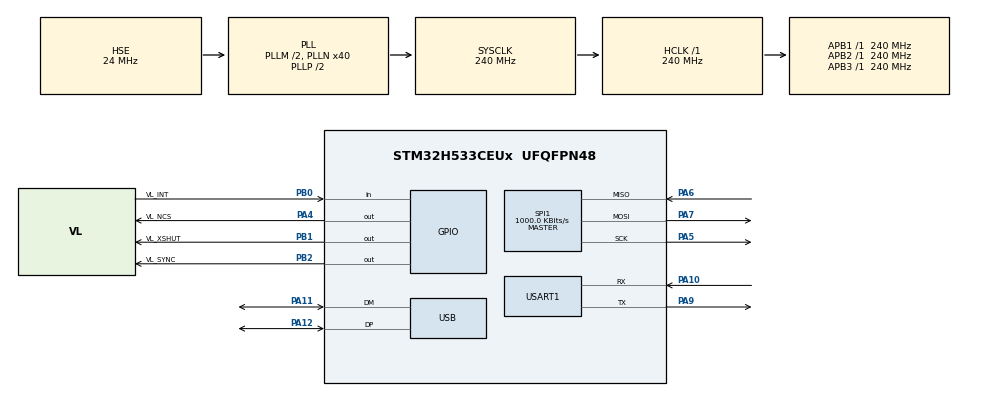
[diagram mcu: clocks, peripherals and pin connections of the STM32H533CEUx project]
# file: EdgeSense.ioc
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BOOTPATH.BootPathName=LEGACY
BOOTPATH.UserSelectedBootPath=LEGACY
CORTEX_M33_NS.Number-Cortex_Memory_Protection_Unit_Region0_OTP_RO_AREAS_Settings=MPU_REGION_NUMBER0
CORTEX_M33_NS.default_mode_Activation=1
CORTEX_M33_NS.userName=CORTEX_M33
Mcu.Family=STM32H5
Mcu.Name=STM32H533CEUx
Mcu.Package=UFQFPN48
NVIC.PriorityGroup=NVIC_PRIORITYGROUP_4
NVIC.USB_DRD_FS_IRQn=true\:7\:0\:true\:false\:true\:false\:true\:true
PA10.Mode=Asynchronous
PA10.Signal=USART1_RX
PA11.Mode=Device
PA11.Signal=USB_DM
PA12.Mode=Device
PA12.Signal=USB_DP
PA13(JTMS/SWDIO).Mode=Serial_Wire
PA13(JTMS/SWDIO).Signal=DEBUG_JTMS-SWDIO
PA14(JTCK/SWCLK).Mode=Serial_Wire
PA14(JTCK/SWCLK).Signal=DEBUG_JTCK-SWCLK
PA4.GPIO_Label=VL_NCS
PA4.GPIO_PuPd=GPIO_PULLUP
PA4.PinState=GPIO_PIN_SET
PA4.Signal=GPIO_Output
PA5.Mode=Full_Duplex_Master
PA5.Signal=SPI1_SCK
PA6.Mode=Full_Duplex_Master
PA6.Signal=SPI1_MISO
PA7.Mode=Full_Duplex_Master
PA7.Signal=SPI1_MOSI
PA9.Mode=Asynchronous
PA9.Signal=USART1_TX
PB0.GPIO_Label=VL_INT
PB0.GPIO_PuPd=GPIO_PULLUP
PB0.Signal=GPIO_Input
PB1.GPIO_Label=VL_XSHUT
PB1.PinState=GPIO_PIN_RESET
PB1.Signal=GPIO_Output
PB2.GPIO_Label=VL_SYNC
PB2.Signal=GPIO_Output
PC14-OSC32_IN(OSC32_IN).Mode=LSE-External-Oscillator
PC14-OSC32_IN(OSC32_IN).Signal=RCC_OSC32_IN
PC15-OSC32_OUT(OSC32_OUT).Mode=LSE-External-Oscillator
PC15-OSC32_OUT(OSC32_OUT).Signal=RCC_OSC32_OUT
PH0-OSC_IN(PH0).Mode=HSE-External-Oscillator
PH0-OSC_IN(PH0).Signal=RCC_OSC_IN
PH1-OSC_OUT(PH1).Mode=HSE-External-Oscillator
PH1-OSC_OUT(PH1).Signal=RCC_OSC_OUT
ProjectManager.HeapSize=0x800
ProjectManager.StackSize=0x800
ProjectManager.TargetToolchain=STM32CubeIDE
RCC.ADCFreq_Value=240000000
RCC.AHBFreq_Value=240000000
RCC.APB1Freq_Value=240000000
RCC.APB1TimFreq_Value=240000000
RCC.APB2Freq_Value=240000000
RCC.APB2TimFreq_Value=240000000
RCC.APB3Freq_Value=240000000
RCC.CSI_VALUE=4000000
RCC.CortexFreq_Value=240000000
RCC.EPOD_VALUE=24000000
RCC.EnbaleCSS=true
RCC.HCLKFreq_Value=240000000
RCC.HSE_VALUE=24000000
RCC.HSI48_VALUE=48000000
RCC.HSI_VALUE=64000000
RCC.LSIRC_VALUE=32000
RCC.PLL1Q=3
RCC.PLL2FRACN=0
RCC.PLL2Source=RCC_PLL2_SOURCE_HSE
RCC.PLL3FRACN=0
RCC.PLL3Source=RCC_PLL3_SOURCE_HSE
RCC.PLLFRACN=0
RCC.PLLM=2
RCC.PLLN=40
RCC.PLLSourceVirtual=RCC_PLL1_SOURCE_HSE
RCC.SPI1CLockSelection=RCC_SPI1CLKSOURCE_CLKP
RCC.SYSCLKFreq_VALUE=240000000
RCC.SYSCLKSource=RCC_SYSCLKSOURCE_PLLCLK
RCC.USBFreq_Value=48000000
RCC.VCOOutputFreq_Value=480000000
SPI1.BaudRatePrescaler=SPI_BAUDRATEPRESCALER_32
SPI1.CLKPhase=SPI_PHASE_2EDGE
SPI1.CLKPolarity=SPI_POLARITY_HIGH
SPI1.CalculateBaudRate=1000.0 KBits/s
SPI1.DataSize=SPI_DATASIZE_8BIT
SPI1.Direction=SPI_DIRECTION_2LINES
SPI1.Mode=SPI_MODE_MASTER
SPI1.VirtualType=VM_MASTER
STMicroelectronics.X-CUBE-AI.10.2.1.ActivationBufferSizeList=3208
STMicroelectronics.X-CUBE-AI.10.2.1.ActivationBuffers=pool0
STMicroelectronics.X-CUBE-AI.10.2.1.ActivationNames=pool0
STMicroelectronics.X-CUBE-AI.10.2.1.ActivationSizes=AI_GESTURE_NN_DATA_ACTIVATION_1_SIZE
STMicroelectronics.X-CUBE-AI.10.2.1.ApplicationCcDeviceJjApplication=ApplicationTemplate
STMicroelectronics.X-CUBE-AI.10.2.1.HeapSize=0x800
STMicroelectronics.X-CUBE-AI.10.2.1.InternalRamActivationBufferMaxSize=AI_GESTURE_NN_DATA_ACTIVATIONS_SIZE
STMicroelectronics.X-CUBE-AI.10.2.1.LatestDirectoryUsed-a4c60c51a46f955832623ff0cc0f47703b3d2a5c17d3c3ddd3811864644dafbc=data
STMicroelectronics.X-CUBE-AI.10.2.1.MaximumNumberOfInputLayer=1
STMicroelectronics.X-CUBE-AI.10.2.1.MaximumNumberOfOutputLayer=1
STMicroelectronics.X-CUBE-AI.10.2.1.MaximumSizeOfInputLayer=1
STMicroelectronics.X-CUBE-AI.10.2.1.MaximumSizeOfOutputLayer=1
STMicroelectronics.X-CUBE-AI.10.2.1.ModelActualCompression-a4c60c51a46f955832623ff0cc0f47703b3d2a5c17d3c3ddd3811864644dafbc=0.0
STMicroelectronics.X-CUBE-AI.10.2.1.ModelCompression-a4c60c51a46f955832623ff0cc0f47703b3d2a5c17d3c3ddd3811864644dafbc=None
STMicroelectronics.X-CUBE-AI.10.2.1.ModelFlashOccupation-a4c60c51a46f955832623ff0cc0f47703b3d2a5c17d3c3ddd3811864644dafbc=81756
STMicroelectronics.X-CUBE-AI.10.2.1.ModelHashList=a4c60c51a46f955832623ff0cc0f47703b3d2a5c17d3c3ddd3811864644dafbc
STMicroelectronics.X-CUBE-AI.10.2.1.ModelKind-a4c60c51a46f955832623ff0cc0f47703b3d2a5c17d3c3ddd3811864644dafbc=ONNX
STMicroelectronics.X-CUBE-AI.10.2.1.ModelMacc-a4c60c51a46f955832623ff0cc0f47703b3d2a5c17d3c3ddd3811864644dafbc=17904
STMicroelectronics.X-CUBE-AI.10.2.1.ModelName-a4c60c51a46f955832623ff0cc0f47703b3d2a5c17d3c3ddd3811864644dafbc=gesture_nn
STMicroelectronics.X-CUBE-AI.10.2.1.ModelNameList=gesture_nn
STMicroelectronics.X-CUBE-AI.10.2.1.ModelRamOccupation-a4c60c51a46f955832623ff0cc0f47703b3d2a5c17d3c3ddd3811864644dafbc=3208
STMicroelectronics.X-CUBE-AI.10.2.1.ModelStructureFile-a4c60c51a46f955832623ff0cc0f47703b3d2a5c17d3c3ddd3811864644dafbc=data\\gesture_nn_model.onnx
STMicroelectronics.X-CUBE-AI.10.2.1.ModelType-a4c60c51a46f955832623ff0cc0f47703b3d2a5c17d3c3ddd3811864644dafbc=STM32Cube.AI MCU runtime
STMicroelectronics.X-CUBE-AI.10.2.1.ReadyForCodeGeneration=false
STMicroelectronics.X-CUBE-AI.10.2.1.StackSize=0x800
STMicroelectronics.X-CUBE-AI.10.2.1.WorkingBufferStartAddrList=0xFFFFFFFF
STMicroelectronics.X-CUBE-AI.10.2.1.XAaCUBEAaAICcArtificialOoIntelligenceJjCore=true
STMicroelectronics.X-CUBE-AI.10.2.1.copyWeightToRam=false
STMicroelectronics.X-CUBE-AI.10.2.1.customLayerConfigEnabled=false
STMicroelectronics.X-CUBE-AI.10.2.1.noOnnxIoTranspose=false
STMicroelectronics.X-CUBE-AI.10.2.1.useInputAllocation=true
STMicroelectronics.X-CUBE-AI.10.2.1.useOutputAllocation=true
USART1.VirtualMode-Asynchronous=VM_ASYNC
USB.VirtualMode=Device_Only
USBX.BSP.number=1
USBX.Core_System=1
USBX.USBD_CDCACM_EPIN_ADDR=2
USBX.USBD_CDCACM_EPOUT_ADDR=3
USBX.UX_DEVICE_CDC_ACM=1
USBX.UX_DEVICE_ENABLED_FS=1
USBX.UX_Device_Controller=1
USBX.UX_Device_CoreStack=1
USBX.UX_enabled_FS=1
USBX0.BSP.STBoard=false
USBX0.BSP.api=Unknown
USBX0.BSP.condition=\!DIE47A
USBX0.BSP.instance=USB
USBX0.BSP.ip=USB
USBX0.BSP.mode=Device_Only
USBX0.BSP.name=USB_Device
USBX0.BSP.solution=USB
VP_BOOTPATH_VS_BOOTPATH.Mode=BP_Activate
VP_CORTEX_M33_NS_VS_Hclk.Mode=Hclk_Mode
VP_ICACHE_VS_ICACHE.Mode=DirectMappedCache
VP_MEMORYMAP_VS_MEMORYMAP.Mode=CurAppReg
VP_PWR_VS_LPOM.Mode=PowerOptimisation
VP_PWR_VS_SECSignals.Mode=Security/Privilege
VP_RCC_USB.Mode=CRS SYNC Source USB
VP_STMicroelectronics.X-CUBE-AI_VS_ArtificialOoIntelligenceJjXAaCUBEAaAI_10.2.1.Mode=ArtificialOoIntelligenceJjXAaCUBEAaAI
VP_STMicroelectronics.X-CUBE-AI_VS_DeviceJjApplication_10.2.1.Mode=DeviceJjApplication
VP_USBX_Core_System.Mode=Core_System
VP_USBX_UX\ Device\ CDC\ ACM\ Class_FS.Mode=UX_Device_class_CDC_ACM_FS_HS
VP_USBX_UX\ Device\ Controller_FS.Mode=UX_Device_Controller_FS
VP_USBX_UX\ Device\ CoreStack_FS.Mode=UX_Device_CoreStack
board=custom

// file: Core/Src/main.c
/* USER CODE BEGIN Header */
/*
 * main.c
 * Main firmware implementation for EdgeSense
 *
 * EdgeSense: STM32 Edge AI Texture and Gesture Classifier
 *
 * Copyright (c) 2026 Dharagesh and Circuit Digest
 * https://github.com/Circuit-Digest/EdgeSense
 * Licensed under GNU General Public License v3.0
 */

/*
  ███████╗██████╗  ██████╗ ███████╗███████╗███████╗███╗   ██╗███████╗███████╗
  ██╔════╝██╔══██╗██╔════╝ ██╔════╝██╔════╝██╔════╝████╗  ██║██╔════╝██╔════╝
  █████╗  ██║  ██║██║  ███╗█████╗  ███████╗█████╗  ██╔██╗ ██║███████╗█████╗
  ██╔══╝  ██║  ██║██║   ██║██╔══╝  ╚════██║██╔══╝  ██║╚██╗██║╚════██║██╔══╝
  ███████╗██████╔╝╚██████╔╝███████╗███████║███████╗██║ ╚████║███████║███████╗
  ╚══════╝╚═════╝  ╚═════╝ ╚══════╝╚══════╝╚══════╝╚═╝  ╚═══╝╚══════╝╚══════╝
*/
/**
  ******************************************************************************
  * @file           : main.c
  * @brief          : Main program body - EdgeSense System Controller
  *                   Capabilities: 3D Gesture (8x8), Surface Material 1D-CNN (4x4 CNH),
  *                                 Hand Posture 2D-CNN (8x8), Optical Smoke Sensing
  *                   Peripherals : VL53L8CH ToF (SPI1), High-Speed USB CDC, USART1
  ******************************************************************************
  */
/* USER CODE END Header */
#include "main.h"
#include "usb_device.h"
#include "app_x-cube-ai.h"

/* USER CODE BEGIN Includes */
#include <stdio.h>
#include <string.h>
#include "usbd_cdc_if.h"
#include "vl53lmz_api.h"
#include "vl53lmz_plugin_cnh.h"
#include "platform.h"
#include "at_cmd.h"
#include "pipeline_manager.h"
/* USER CODE END Includes */

SPI_HandleTypeDef hspi1;

UART_HandleTypeDef huart1;

PCD_HandleTypeDef hpcd_USB_DRD_FS;

/* USER CODE BEGIN PV */
extern volatile uint32_t g_usb_irq_count;

static VL53LMZ_Configuration         g_vl53lmz_dev;
static VL53LMZ_ResultsData           g_vl53lmz_results;
static VL53LMZ_Motion_Configuration  g_cnh_config;
static cnh_data_buffer_t             g_cnh_data_buffer;
static uint32_t                      g_cnh_data_size = 0;
static int16_t                       g_cnh_min_dist = 0;
static int16_t                       g_cnh_max_dist = 0;
static uint8_t  g_sensor_initialized = 0;
uint8_t         g_ranging_active     = 0;
static uint32_t g_frame_count        = 0;
static uint32_t g_last_frame_tick    = 0;
float           g_fps                = 0.0f;
static char     s_json_buf[6144];
static uint8_t  g_current_resolution = 64;
static uint16_t g_cnh_num_bins        = 16;
static uint8_t  g_cnh_sub_sample      = 4;
static uint8_t  g_ranging_freq_hz     = 15;
/* USER CODE END PV */

void SystemClock_Config(void);
void PeriphCommonClock_Config(void);
static void MPU_Config(void);
static void MX_GPIO_Init(void);
static void MX_ICACHE_Init(void);
static void MX_SPI1_Init(void);
static void MX_USART1_UART_Init(void);
/* USER CODE BEGIN PFP */
void MX_USB_PCD_Init(void);
/* USER CODE END PFP */

/* USER CODE BEGIN 0 */
// Redirect printf to USB Type-C Virtual COM Port (Non-blocking high-speed)
int __io_putchar(int ch) {
    uint8_t c = (uint8_t)ch;
    CDC_Transmit_FS(&c, 1);
    return ch;
}

// Low-level SPI write for VL53L8CH
void VL_WriteByte(uint16_t reg, uint8_t data) {
    uint8_t tx[3];
    // In VL53L8CH SPI: write bit (bit 15) is 1
    tx[0] = (uint8_t)((reg >> 8) | 0x80);
    tx[1] = (uint8_t)(reg & 0xFF);
    tx[2] = data;

    HAL_GPIO_WritePin(VL_NCS_GPIO_Port, VL_NCS_Pin, GPIO_PIN_RESET); // Chip Select LOW
    HAL_SPI_Transmit(&hspi1, tx, 3, 100);
    HAL_GPIO_WritePin(VL_NCS_GPIO_Port, VL_NCS_Pin, GPIO_PIN_SET);   // Chip Select HIGH
}

// Low-level SPI read for VL53L8CH
uint8_t VL_ReadByte(uint16_t reg) {
    uint8_t tx[2];
    uint8_t rx = 0;
    // In VL53L8CH SPI: read bit (bit 15) is 0
    tx[0] = (uint8_t)((reg >> 8) & 0x7F);
    tx[1] = (uint8_t)(reg & 0xFF);

    HAL_GPIO_WritePin(VL_NCS_GPIO_Port, VL_NCS_Pin, GPIO_PIN_RESET); // Chip Select LOW
    HAL_SPI_Transmit(&hspi1, tx, 2, 100);                             // Send 16-bit address
    HAL_SPI_Receive(&hspi1, &rx, 1, 100);                             // Read byte
    HAL_GPIO_WritePin(VL_NCS_GPIO_Port, VL_NCS_Pin, GPIO_PIN_SET);   // Chip Select HIGH
    return rx;
}

// Ultra-fast integer-to-string append (avoids printf overhead)
static inline char* append_int(char *p, int val) {
    if (val < 0) {
        *p++ = '-';
        val = -val;
    }
    char tmp[10];
    int i = 0;
    do {
        tmp[i++] = (char)('0' + (val % 10));
        val /= 10;
    } while (val > 0);
    while (i > 0) {
        *p++ = tmp[--i];
    }
    return p;
}

// Ultra-fast 1-decimal-place float append (e.g. 12.3)
static inline char* append_fixed1(char *p, float val) {
    if (val < 0.0f) {
        *p++ = '-';
        val = -val;
    }
    uint32_t vi = (uint32_t)val;
    uint32_t vf = (uint32_t)((val - (float)vi) * 10.0f + 0.5f);
    if (vf >= 10) {
        vi++;
        vf = 0;
    }
    char tmp[10];
    int i = 0;
    do {
        tmp[i++] = (char)('0' + (vi % 10));
        vi /= 10;
    } while (vi > 0);
    while (i > 0) {
        *p++ = tmp[--i];
    }
    *p++ = '.';
    *p++ = (char)('0' + vf);
    return p;
}

uint8_t Get_Sensor_Resolution(void) { return g_current_resolution; }
uint16_t Get_Sensor_NumBins(void) { return g_cnh_num_bins; }
uint8_t Get_Sensor_SubSample(void) { return g_cnh_sub_sample; }
uint8_t Get_Sensor_Frequency(void) { return g_ranging_freq_hz; }
void* Get_CNH_Configuration(void) { return (void*)&g_cnh_config; }

/// High-Speed Atomic JSON Packet Streaming (Dynamic Resolution & Bins)
static void Print_JSON_Stream(VL53LMZ_ResultsData *p_res, uint32_t frame_no) {
    char *p = s_json_buf;
    uint8_t num_zones = g_current_resolution;
    uint16_t nb_bins = g_cnh_num_bins;

    // 1. Frame metadata
    *p++ = '{';
    *p++ = '"'; *p++ = 'f'; *p++ = '"'; *p++ = ':';
    p = append_int(p, (int)frame_no);
    *p++ = ',';
    *p++ = '"'; *p++ = 't'; *p++ = '"'; *p++ = ':';
    p = append_int(p, (int)p_res->silicon_temp_degc);
    *p++ = ',';
    *p++ = '"'; *p++ = 'r'; *p++ = 'e'; *p++ = 's'; *p++ = '"'; *p++ = ':';
    p = append_int(p, (int)num_zones);
    *p++ = ',';
    *p++ = '"'; *p++ = 'b'; *p++ = 'i'; *p++ = 'n'; *p++ = 's'; *p++ = '"'; *p++ = ':';
    p = append_int(p, (int)nb_bins);

    // 2. Distance values (16 or 64)
    *p++ = ',';
    *p++ = '"'; *p++ = 'd'; *p++ = '"'; *p++ = ':'; *p++ = '[';
    for (int i = 0; i < num_zones; i++) {
        if (i > 0) *p++ = ',';
        uint8_t status = p_res->target_status[i];
        int16_t d = (status == 5 || status == 6 || status == 9 || status == 4) ? p_res->distance_mm[i] : -1;
        p = append_int(p, (int)d);
    }
    *p++ = ']';

    // 3. Peak Signal values (kcps/SPAD)
    *p++ = ',';
    *p++ = '"'; *p++ = 's'; *p++ = '"'; *p++ = ':'; *p++ = '[';
    for (int i = 0; i < num_zones; i++) {
        if (i > 0) *p++ = ',';
        uint32_t sig = p_res->signal_per_spad[i];
        p = append_int(p, (int)sig);
    }
    *p++ = ']';

    // 4. Native Ambient Noise values (kcps/spad)
    *p++ = ',';
    *p++ = '"'; *p++ = 'a'; *p++ = '"'; *p++ = ':'; *p++ = '[';
    for (int i = 0; i < num_zones; i++) {
        if (i > 0) *p++ = ',';
        p = append_int(p, (int)p_res->ambient_per_spad[i]);
    }
    *p++ = ']';

    // 4. Zone Histograms Concurrent Matrix
    *p++ = ',';
    *p++ = '"'; *p++ = 'h'; *p++ = '"'; *p++ = ':'; *p++ = '[';
    for (int z = 0; z < num_zones; z++) {
        if (z > 0) *p++ = ',';
        *p++ = '[';

        int32_t *p_hist = NULL;
        int8_t *p_hist_scaler = NULL;
        int32_t *p_ambient = NULL;
        int8_t *p_ambient_scaler = NULL;

        vl53lmz_cnh_get_block_addresses(&g_cnh_config, z, g_cnh_data_buffer,
                                        &p_hist, &p_hist_scaler, &p_ambient, &p_ambient_scaler);

        if (p_hist && p_hist_scaler) {
            for (int b = 0; b < nb_bins; b++) {
                if (b > 0) *p++ = ',';
                float val = ((float)p_hist[b]) / (float)(1 << p_hist_scaler[b]);
                p = append_fixed1(p, val);
            }
        } else {
            for (int b = 0; b < nb_bins; b++) {
                if (b > 0) *p++ = ',';
                *p++ = '0';
            }
        }
        *p++ = ']';
    }
    *p++ = ']';
    *p++ = '}';
    *p++ = '\r';
    *p++ = '\n';
    *p = '\0';

    int len = p - s_json_buf;

    // Single Atomic Non-blocking USB CDC Transmit
    if (len > 0 && len < (int)sizeof(s_json_buf)) {
        CDC_Transmit_FS((uint8_t*)s_json_buf, (uint16_t)len);
    }
}

uint8_t Init_VL53LMZ_Sensor(void);

uint8_t Set_Sensor_Profile(uint8_t resolution, uint16_t num_bins, uint8_t frequency_hz, uint8_t sub_sample) {
    if (!g_sensor_initialized) {
        return VL53LMZ_STATUS_ERROR;
    }
    if (resolution != 16 && resolution != 64) {
        return VL53LMZ_STATUS_INVALID_PARAM;
    }

    uint8_t status = VL53LMZ_STATUS_OK;
    uint8_t was_ranging = g_ranging_active;

    printf("\r\n[PROFILE] Reconfiguring sensor to %s (%d Zones, %d Bins, SubSample %d @ %d Hz)...\r\n",
           (resolution == 16) ? "4x4" : "8x8", resolution, num_bins, sub_sample, frequency_hz);

    // 1. Stop sensor ranging if active
    if (g_ranging_active) {
        status = vl53lmz_stop_ranging(&g_vl53lmz_dev);
        g_ranging_active = 0;
        if (status != VL53LMZ_STATUS_OK) {
            printf(">>> [FAIL] vl53lmz_stop_ranging failed! status=0x%02X <<<\r\n", status);
            return status;
        }
    }

    // 2. Set resolution, frequency, and integration time
    status = vl53lmz_set_resolution(&g_vl53lmz_dev, resolution);
    if (status != VL53LMZ_STATUS_OK) {
        printf(">>> [FAIL] vl53lmz_set_resolution failed! status=0x%02X <<<\r\n", status);
        return status;
    }

    status = vl53lmz_set_ranging_frequency_hz(&g_vl53lmz_dev, frequency_hz);
    if (status != VL53LMZ_STATUS_OK) {
        printf(">>> [FAIL] vl53lmz_set_ranging_frequency_hz failed! status=0x%02X <<<\r\n", status);
        return status;
    }

    uint32_t integration_time = (resolution == 16) ? 15 : 20;
    status = vl53lmz_set_integration_time_ms(&g_vl53lmz_dev, integration_time);
    if (status != VL53LMZ_STATUS_OK) {
        printf(">>> [FAIL] vl53lmz_set_integration_time_ms failed! status=0x%02X <<<\r\n", status);
        return status;
    }

    status = vl53lmz_set_ranging_mode(&g_vl53lmz_dev, VL53LMZ_RANGING_MODE_CONTINUOUS);
    if (status != VL53LMZ_STATUS_OK) {
        printf(">>> [FAIL] vl53lmz_set_ranging_mode failed! status=0x%02X <<<\r\n", status);
        return status;
    }

    // 3. Configure CNH Plugin
    status = vl53lmz_cnh_init_config(&g_cnh_config, 0, (int16_t)num_bins, (int16_t)sub_sample);
    if (status != VL53LMZ_STATUS_OK) {
        printf(">>> [FAIL] vl53lmz_cnh_init_config failed! status=0x%02X <<<\r\n", status);
        return status;
    }

    int16_t grid_dim = (resolution == 16) ? 4 : 8;
    status = vl53lmz_cnh_create_agg_map(&g_cnh_config, (int16_t)resolution, 0, 0, 1, 1, grid_dim, grid_dim);
    if (status != VL53LMZ_STATUS_OK) {
        printf(">>> [FAIL] vl53lmz_cnh_create_agg_map failed! status=0x%02X <<<\r\n", status);
        return status;
    }

    status = vl53lmz_cnh_calc_required_memory(&g_cnh_config, &g_cnh_data_size);
    if (status != VL53LMZ_STATUS_OK || g_cnh_data_size > VL53LMZ_CNH_MAX_DATA_BYTES) {
        printf(">>> [FAIL] CNH memory calculation error: %lu bytes <<<\r\n", g_cnh_data_size);
        return VL53LMZ_STATUS_ERROR;
    }
    vl53lmz_cnh_calc_min_max_distance(&g_cnh_config, &g_cnh_min_dist, &g_cnh_max_dist);
    printf("   CNH Memory: %lu bytes (Max: %lu) | Distance Span: %d - %d mm\r\n",
           g_cnh_data_size, VL53LMZ_CNH_MAX_DATA_BYTES, g_cnh_min_dist, g_cnh_max_dist);

    status = vl53lmz_cnh_send_config(&g_vl53lmz_dev, &g_cnh_config);
    if (status != VL53LMZ_STATUS_OK) {
        printf(">>> [FAIL] vl53lmz_cnh_send_config failed! status=0x%02X <<<\r\n", status);
        return status;
    }

    // 4. Build output descriptor with CNH block
    status = vl53lmz_create_output_config(&g_vl53lmz_dev);
    if (status != VL53LMZ_STATUS_OK) {
        printf(">>> [FAIL] vl53lmz_create_output_config failed! status=0x%02X <<<\r\n", status);
        return status;
    }

    union Block_header cnh_data_bh;
    cnh_data_bh.idx = VL53LMZ_CNH_DATA_IDX;
    cnh_data_bh.type = 4;
    cnh_data_bh.size = g_cnh_data_size / 4;
    status = vl53lmz_add_output_block(&g_vl53lmz_dev, cnh_data_bh.bytes);
    if (status != VL53LMZ_STATUS_OK) {
        printf(">>> [FAIL] vl53lmz_add_output_block failed! status=0x%02X <<<\r\n", status);
        return status;
    }

    // 5. Update global profile state
    g_current_resolution = resolution;
    g_cnh_num_bins = num_bins;
    g_cnh_sub_sample = sub_sample;
    g_ranging_freq_hz = frequency_hz;

    // 6. Resume ranging if it was active previously
    if (was_ranging) {
        status = vl53lmz_send_output_config_and_start(&g_vl53lmz_dev);
        if (status == VL53LMZ_STATUS_OK) {
            g_ranging_active = 1;
            printf("[PROFILE] Ranging restarted successfully.\r\n");
        } else {
            printf(">>> [FAIL] Failed to restart ranging! status=0x%02X <<<\r\n", status);
            return status;
        }
    }

    printf("[PROFILE] Reconfiguration complete: %s (%d Zones, %d Bins @ %d Hz)\r\n",
           (resolution == 16) ? "4x4" : "8x8", resolution, num_bins, frequency_hz);
    return VL53LMZ_STATUS_OK;
}

void Set_Sensor_Ranging(uint8_t enable) {
    if (enable && !g_ranging_active) {
        uint8_t status = vl53lmz_send_output_config_and_start(&g_vl53lmz_dev);
        if (status == VL53LMZ_STATUS_OK) {
            g_ranging_active = 1;
            printf("[SENSOR] Ranging resumed.\r\n");
        } else {
            printf("[SENSOR] Resume failed (0x%02X), reinitializing...\r\n", status);
            Init_VL53LMZ_Sensor();
        }
    } else if (!enable && g_ranging_active) {
        uint8_t status = vl53lmz_stop_ranging(&g_vl53lmz_dev);
        g_ranging_active = 0;
        printf("[SENSOR] Ranging paused.\r\n");
        (void)status;
    }
}

// Full initialization sequence using ST VL53LMZ ULD driver with CNH plugin
uint8_t Init_VL53LMZ_Sensor(void) {
    uint8_t status = 0;
    uint8_t is_alive = 0;

    printf("\r\n==============================================\r\n");
    printf("--- Initializing VL53L8CH ULD Driver with CNH ---\r\n");
    printf("SPI1 Clock: 3.000 MHz (PLL1Q 48.0 MHz / 16)\r\n");

    // 1. Hardware Reset via XSHUT pin
    printf("1. Hardware Reset via VL_XSHUT (PB1)...\r\n");
    Reset_Sensor(&(g_vl53lmz_dev.platform));

    // 2. Check if sensor silicon is alive on SPI
    printf("2. Probing sensor on SPI1...\r\n");
    status = vl53lmz_is_alive(&g_vl53lmz_dev, &is_alive);
    if (!is_alive || status != VL53LMZ_STATUS_OK) {
        printf(">>> [FAIL] Sensor not responding on SPI! status=0x%02X, is_alive=%d <<<\r\n", status, is_alive);
        return 1;
    }
    printf("   [OK] Sensor alive and responding!\r\n");

    // 3. Upload firmware to sensor RAM (~80 KB payload)
    printf("3. Uploading firmware to sensor internal RAM (~80 KB via SPI)...\r\n");
    uint32_t t_start = HAL_GetTick();
    status = vl53lmz_init(&g_vl53lmz_dev);
    uint32_t t_elapsed = HAL_GetTick() - t_start;

    if (status != VL53LMZ_STATUS_OK) {
        printf(">>> [FAIL] vl53lmz_init failed! status=0x%02X <<<\r\n", status);
        return status;
    }
    printf("   >>> [SUCCESS] VL53L8CH ULD Ready! (API Rev: %s, took %lu ms) <<<\r\n",
           VL53LMZ_API_REVISION, t_elapsed);

    // 4. Configure Ranging parameters for 8x8 Grid @ 15 Hz
    printf("4. Configuring 8x8 Grid (64 Zones) @ 15 Hz Continuous Ranging...\r\n");
    status |= vl53lmz_set_resolution(&g_vl53lmz_dev, 64);
    status |= vl53lmz_set_ranging_frequency_hz(&g_vl53lmz_dev, 15);
    status |= vl53lmz_set_integration_time_ms(&g_vl53lmz_dev, 20);
    status |= vl53lmz_set_ranging_mode(&g_vl53lmz_dev, VL53LMZ_RANGING_MODE_CONTINUOUS);

    if (status != VL53LMZ_STATUS_OK) {
        printf(">>> [FAIL] Basic ranging configuration failed! status=0x%02X <<<\r\n", status);
        return status;
    }

    // 5. Configure CNH (Compact Normalized Histogram - 64 Zones x 16 Bins)
    printf("5. Configuring CNH (64 Zones x 16 Bins, SubSample 4)...\r\n");
    status = vl53lmz_cnh_init_config(&g_cnh_config, 0, 16, 4);
    if (status != VL53LMZ_STATUS_OK) {
        printf(">>> [FAIL] vl53lmz_cnh_init_config failed! status=0x%02X <<<\r\n", status);
        return status;
    }

    status = vl53lmz_cnh_create_agg_map(&g_cnh_config, 64, 0, 0, 1, 1, 8, 8);
    if (status != VL53LMZ_STATUS_OK) {
        printf(">>> [FAIL] vl53lmz_cnh_create_agg_map failed! status=0x%02X <<<\r\n", status);
        return status;
    }

    status = vl53lmz_cnh_calc_required_memory(&g_cnh_config, &g_cnh_data_size);
    if (status != VL53LMZ_STATUS_OK || g_cnh_data_size > VL53LMZ_CNH_MAX_DATA_BYTES) {
        printf(">>> [FAIL] CNH memory calculation error: %lu bytes <<<\r\n", g_cnh_data_size);
        return status;
    }
    vl53lmz_cnh_calc_min_max_distance(&g_cnh_config, &g_cnh_min_dist, &g_cnh_max_dist);
    printf("   CNH Memory: %lu bytes (Max: %lu) | Distance Span: %d - %d mm\r\n",
           g_cnh_data_size, VL53LMZ_CNH_MAX_DATA_BYTES, g_cnh_min_dist, g_cnh_max_dist);

    status = vl53lmz_cnh_send_config(&g_vl53lmz_dev, &g_cnh_config);
    if (status != VL53LMZ_STATUS_OK) {
        printf(">>> [FAIL] vl53lmz_cnh_send_config failed! status=0x%02X <<<\r\n", status);
        return status;
    }

    // 6. Build and send output configuration containing CNH block
    printf("6. Building output descriptor with CNH block 0x%04X...\r\n", VL53LMZ_CNH_DATA_IDX);
    status = vl53lmz_create_output_config(&g_vl53lmz_dev);
    if (status != VL53LMZ_STATUS_OK) {
        printf(">>> [FAIL] vl53lmz_create_output_config failed! status=0x%02X <<<\r\n", status);
        return status;
    }

    union Block_header cnh_data_bh;
    cnh_data_bh.idx = VL53LMZ_CNH_DATA_IDX;
    cnh_data_bh.type = 4;
    cnh_data_bh.size = g_cnh_data_size / 4;
    status = vl53lmz_add_output_block(&g_vl53lmz_dev, cnh_data_bh.bytes);
    if (status != VL53LMZ_STATUS_OK) {
        printf(">>> [FAIL] vl53lmz_add_output_block failed! status=0x%02X <<<\r\n", status);
        return status;
    }

    // 7. Start ranging with CNH output
    printf("7. Starting sensor ranging with CNH stream...\r\n");
    status = vl53lmz_send_output_config_and_start(&g_vl53lmz_dev);
    if (status != VL53LMZ_STATUS_OK) {
        printf(">>> [FAIL] vl53lmz_send_output_config_and_start failed! status=0x%02X <<<\r\n", status);
        return status;
    }

    g_sensor_initialized = 1;
    g_ranging_active = 1;
    printf(">>> [SUCCESS] VL53L8CH Sensor Active! <<<\r\n");
    printf("Control Plane: Send 'AT+HELP' for available AT commands\r\n");
    printf("==============================================\r\n");
    return 0;
}
/* USER CODE END 0 */

int main(void)
{

  /* MCU Configuration--------------------------------------------------------*/

  /* MPU Configuration--------------------------------------------------------*/
  MPU_Config();

  /* Reset of all peripherals, Initializes the Flash interface and the Systick. */
  HAL_Init();

  /* Configure the system clock */
  SystemClock_Config();

  /* Configure the peripherals common clocks */
  PeriphCommonClock_Config();

  /* Initialize all configured peripherals */
  MX_GPIO_Init();
  MX_ICACHE_Init();
  MX_SPI1_Init();
  MX_USART1_UART_Init();
  MX_X_CUBE_AI_Init();
  /* USER CODE BEGIN 2 */
  printf("\r\n==============================================\r\n");
  printf("EdgeSense STM32H533 Initializing...\r\n");
  printf("Core Clock (SYSCLK): %lu MHz\r\n", HAL_RCC_GetSysClockFreq() / 1000000);

  // 1. Initialize USB PCD Hardware & Classic ST USB Device Stack
  printf("Starting USB Controller & Classic ST USB Device CDC Stack...\r\n");
  MX_USB_PCD_Init();

  // 2. Connect internal D+ pull-up to host PC
  printf("Connecting USB D+ Pull-Up to PC Host...\r\n");
  HAL_PCD_DevDisconnect(&hpcd_USB_DRD_FS);
  HAL_Delay(100);
  HAL_PCD_DevConnect(&hpcd_USB_DRD_FS);
  HAL_StatusTypeDef pcd_status = HAL_PCD_Start(&hpcd_USB_DRD_FS);
  printf("USB Transceiver Started: %s\r\n", (pcd_status == HAL_OK) ? "SUCCESS" : "FAILED");
  printf("Communication Active: Hardware UART (J5) + USB-C (J4)\r\n");
  printf("==============================================\r\n");

  // 3. Initialize VL53L8CH ULD Driver with CNH and Start Ranging
  Init_VL53LMZ_Sensor();

  // 4. Initialize Asynchronous AT Command Processor
  AT_Cmd_Init();

  /* USER CODE END 2 */

  /* Infinite loop */
  /* USER CODE BEGIN WHILE */
  uint32_t last_paused_tick = HAL_GetTick();
  uint8_t rx_char = 0;

  while (1)
  {
    /* USER CODE END WHILE */

  MX_X_CUBE_AI_Process();
    /* USER CODE BEGIN 3 */
    // 1. Pump non-blocking USB CDC output
    USB_CDC_TxPump();

    // 2. Process UART keyboard input
    if (HAL_UART_Receive(&huart1, &rx_char, 1, 0) == HAL_OK) {
        AT_Cmd_FeedChar((char)rx_char);
    }

    // 3. Process pending AT commands in main thread context (non-blocking)
    AT_Cmd_Process();

    // 4. Sensor data acquisition when VL_INT is LOW (Active-Low Interrupt: Data Ready)
    if (g_ranging_active && HAL_GPIO_ReadPin(VL_INT_GPIO_Port, VL_INT_Pin) == GPIO_PIN_RESET) {
        uint8_t status = vl53lmz_get_ranging_data(&g_vl53lmz_dev, &g_vl53lmz_results);
        if (status == VL53LMZ_STATUS_OK) {
            // Extract the CNH raw histogram block from the transfer buffer
            status = vl53lmz_results_extract_block(&g_vl53lmz_dev, VL53LMZ_CNH_DATA_IDX,
                                                  (uint8_t *)g_cnh_data_buffer, (uint16_t)g_cnh_data_size);
            if (status == VL53LMZ_STATUS_OK) {
                g_frame_count++;
                uint32_t now = HAL_GetTick();
                if (now != g_last_frame_tick) {
                    g_fps = 1000.0f / (float)(now - g_last_frame_tick);
                }
                g_last_frame_tick = now;

                // Streaming telemetry according to active stream mode
                StreamMode_t sm = Pipeline_GetStreamMode();
                if (sm == STREAM_MODE_RAW || sm == STREAM_MODE_DEBUG) {
                    Print_JSON_Stream(&g_vl53lmz_results, g_frame_count);
                }

                // Real-Time Multi-Capability AI Pipeline (Gesture, Posture, Surface, Smoke)
                Pipeline_FeedFrame(&g_vl53lmz_results, (const uint32_t *)g_cnh_data_buffer, g_cnh_data_size);
            }
        }
    }

    // 5. Heartbeat when paused
    if (!g_ranging_active && (HAL_GetTick() - last_paused_tick >= 5000)) {
        last_paused_tick = HAL_GetTick();
        printf("[PAUSED] Send 'AT+RESUME' to start ranging, 'AT+HELP' for command list.\r\n");
    }
  }
  /* USER CODE END 3 */
}

void SystemClock_Config(void)
{
  RCC_OscInitTypeDef RCC_OscInitStruct = {0};
  RCC_ClkInitTypeDef RCC_ClkInitStruct = {0};
  RCC_CRSInitTypeDef RCC_CRSInitStruct = {0};

  /** Configure the main internal regulator output voltage
  */
  __HAL_PWR_VOLTAGESCALING_CONFIG(PWR_REGULATOR_VOLTAGE_SCALE0);

  while(!__HAL_PWR_GET_FLAG(PWR_FLAG_VOSRDY)) {}

  /** Initializes the RCC Oscillators according to the specified parameters
  * in the RCC_OscInitTypeDef structure.
  */
  RCC_OscInitStruct.OscillatorType = RCC_OSCILLATORTYPE_HSI48|RCC_OSCILLATORTYPE_HSI
                              |RCC_OSCILLATORTYPE_HSE;
  RCC_OscInitStruct.HSEState = RCC_HSE_ON;
  RCC_OscInitStruct.HSIState = RCC_HSI_ON;
  RCC_OscInitStruct.HSIDiv = RCC_HSI_DIV2;
  RCC_OscInitStruct.HSICalibrationValue = RCC_HSICALIBRATION_DEFAULT;
  RCC_OscInitStruct.HSI48State = RCC_HSI48_ON;
  RCC_OscInitStruct.PLL.PLLState = RCC_PLL_ON;
  RCC_OscInitStruct.PLL.PLLSource = RCC_PLL1_SOURCE_HSE;
  RCC_OscInitStruct.PLL.PLLM = 2;
  RCC_OscInitStruct.PLL.PLLN = 40;
  RCC_OscInitStruct.PLL.PLLP = 2;
  RCC_OscInitStruct.PLL.PLLQ = 3;
  RCC_OscInitStruct.PLL.PLLR = 2;
  RCC_OscInitStruct.PLL.PLLRGE = RCC_PLL1_VCIRANGE_3;
  RCC_OscInitStruct.PLL.PLLVCOSEL = RCC_PLL1_VCORANGE_WIDE;
  RCC_OscInitStruct.PLL.PLLFRACN = 0;
  if (HAL_RCC_OscConfig(&RCC_OscInitStruct) != HAL_OK)
  {
    Error_Handler();
  }

  /** Initializes the CPU, AHB and APB buses clocks
  */
  RCC_ClkInitStruct.ClockType = RCC_CLOCKTYPE_HCLK|RCC_CLOCKTYPE_SYSCLK
                              |RCC_CLOCKTYPE_PCLK1|RCC_CLOCKTYPE_PCLK2
                              |RCC_CLOCKTYPE_PCLK3;
  RCC_ClkInitStruct.SYSCLKSource = RCC_SYSCLKSOURCE_PLLCLK;
  RCC_ClkInitStruct.AHBCLKDivider = RCC_SYSCLK_DIV1;
  RCC_ClkInitStruct.APB1CLKDivider = RCC_HCLK_DIV1;
  RCC_ClkInitStruct.APB2CLKDivider = RCC_HCLK_DIV1;
  RCC_ClkInitStruct.APB3CLKDivider = RCC_HCLK_DIV1;

  if (HAL_RCC_ClockConfig(&RCC_ClkInitStruct, FLASH_LATENCY_5) != HAL_OK)
  {
    Error_Handler();
  }

  /** Enable the CRS APB clock
  */
  __HAL_RCC_CRS_CLK_ENABLE();

  /** Configures CRS
  */
  RCC_CRSInitStruct.Prescaler = RCC_CRS_SYNC_DIV1;
  RCC_CRSInitStruct.Source = RCC_CRS_SYNC_SOURCE_USB;
  RCC_CRSInitStruct.Polarity = RCC_CRS_SYNC_POLARITY_RISING;
  RCC_CRSInitStruct.ReloadValue = __HAL_RCC_CRS_RELOADVALUE_CALCULATE(48000000,1000);
  RCC_CRSInitStruct.ErrorLimitValue = 34;
  RCC_CRSInitStruct.HSI48CalibrationValue = 32;

  HAL_RCCEx_CRSConfig(&RCC_CRSInitStruct);

  /** Enables the Clock Security System
  */
  HAL_RCC_EnableCSS();

  /** Configure the programming delay
  */
  __HAL_FLASH_SET_PROGRAM_DELAY(FLASH_PROGRAMMING_DELAY_2);
}

void PeriphCommonClock_Config(void)
{
  RCC_PeriphCLKInitTypeDef PeriphClkInitStruct = {0};

  /** Initializes the peripherals clock
  */
  PeriphClkInitStruct.PeriphClockSelection = RCC_PERIPHCLK_CKPER;
  PeriphClkInitStruct.CkperClockSelection = RCC_CLKPSOURCE_HSI;
  if (HAL_RCCEx_PeriphCLKConfig(&PeriphClkInitStruct) != HAL_OK)
  {
    Error_Handler();
  }
}

static void MX_ICACHE_Init(void)
{

  /** Enable instruction cache in 1-way (direct mapped cache)
  */
  if (HAL_ICACHE_ConfigAssociativityMode(ICACHE_1WAY) != HAL_OK)
  {
    Error_Handler();
  }
  if (HAL_ICACHE_Enable() != HAL_OK)
  {
    Error_Handler();
  }

}

static void MX_SPI1_Init(void)
{

  /* SPI1 parameter configuration*/
  hspi1.Instance = SPI1;
  hspi1.Init.Mode = SPI_MODE_MASTER;
  hspi1.Init.Direction = SPI_DIRECTION_2LINES;
  hspi1.Init.DataSize = SPI_DATASIZE_8BIT;
  hspi1.Init.CLKPolarity = SPI_POLARITY_HIGH;
  hspi1.Init.CLKPhase = SPI_PHASE_2EDGE;
  hspi1.Init.NSS = SPI_NSS_SOFT;
  hspi1.Init.BaudRatePrescaler = SPI_BAUDRATEPRESCALER_32;
  hspi1.Init.FirstBit = SPI_FIRSTBIT_MSB;
  hspi1.Init.TIMode = SPI_TIMODE_DISABLE;
  hspi1.Init.CRCCalculation = SPI_CRCCALCULATION_DISABLE;
  hspi1.Init.CRCPolynomial = 0x7;
  hspi1.Init.NSSPMode = SPI_NSS_PULSE_DISABLE;
  hspi1.Init.NSSPolarity = SPI_NSS_POLARITY_LOW;
  hspi1.Init.FifoThreshold = SPI_FIFO_THRESHOLD_01DATA;
  hspi1.Init.MasterSSIdleness = SPI_MASTER_SS_IDLENESS_00CYCLE;
  hspi1.Init.MasterInterDataIdleness = SPI_MASTER_INTERDATA_IDLENESS_00CYCLE;
  hspi1.Init.MasterReceiverAutoSusp = SPI_MASTER_RX_AUTOSUSP_DISABLE;
  hspi1.Init.MasterKeepIOState = SPI_MASTER_KEEP_IO_STATE_DISABLE;
  hspi1.Init.IOSwap = SPI_IO_SWAP_DISABLE;
  hspi1.Init.ReadyMasterManagement = SPI_RDY_MASTER_MANAGEMENT_INTERNALLY;
  hspi1.Init.ReadyPolarity = SPI_RDY_POLARITY_HIGH;
  if (HAL_SPI_Init(&hspi1) != HAL_OK)
  {
    Error_Handler();
  }

}

static void MX_USART1_UART_Init(void)
{

  huart1.Instance = USART1;
  huart1.Init.BaudRate = 115200;
  huart1.Init.WordLength = UART_WORDLENGTH_8B;
  huart1.Init.StopBits = UART_STOPBITS_1;
  huart1.Init.Parity = UART_PARITY_NONE;
  huart1.Init.Mode = UART_MODE_TX_RX;
  huart1.Init.HwFlowCtl = UART_HWCONTROL_NONE;
  huart1.Init.OverSampling = UART_OVERSAMPLING_16;
  huart1.Init.OneBitSampling = UART_ONE_BIT_SAMPLE_DISABLE;
  huart1.Init.ClockPrescaler = UART_PRESCALER_DIV1;
  huart1.AdvancedInit.AdvFeatureInit = UART_ADVFEATURE_NO_INIT;
  if (HAL_UART_Init(&huart1) != HAL_OK)
  {
    Error_Handler();
  }
  if (HAL_UARTEx_SetTxFifoThreshold(&huart1, UART_TXFIFO_THRESHOLD_1_8) != HAL_OK)
  {
    Error_Handler();
  }
  if (HAL_UARTEx_SetRxFifoThreshold(&huart1, UART_RXFIFO_THRESHOLD_1_8) != HAL_OK)
  {
    Error_Handler();
  }
  if (HAL_UARTEx_DisableFifoMode(&huart1) != HAL_OK)
  {
    Error_Handler();
  }

}

void MX_USB_PCD_Init(void)
{

  hpcd_USB_DRD_FS.Instance = USB_DRD_FS;
  hpcd_USB_DRD_FS.Init.dev_endpoints = 8;
  hpcd_USB_DRD_FS.Init.speed = USBD_FS_SPEED;
  hpcd_USB_DRD_FS.Init.phy_itface = PCD_PHY_EMBEDDED;
  hpcd_USB_DRD_FS.Init.Sof_enable = DISABLE;
  hpcd_USB_DRD_FS.Init.low_power_enable = DISABLE;
  hpcd_USB_DRD_FS.Init.lpm_enable = DISABLE;
  hpcd_USB_DRD_FS.Init.battery_charging_enable = DISABLE;
  hpcd_USB_DRD_FS.Init.vbus_sensing_enable = DISABLE;
  hpcd_USB_DRD_FS.Init.bulk_doublebuffer_enable = DISABLE;
  hpcd_USB_DRD_FS.Init.iso_singlebuffer_enable = DISABLE;
  if (HAL_PCD_Init(&hpcd_USB_DRD_FS) != HAL_OK)
  {
    Error_Handler();
  }
  /* USER CODE BEGIN USB_Init 2 */
  MX_USB_Device_Init();
  /* USER CODE END USB_Init 2 */

}

static void MX_GPIO_Init(void)
{
  GPIO_InitTypeDef GPIO_InitStruct = {0};

  /* GPIO Ports Clock Enable */
  __HAL_RCC_GPIOC_CLK_ENABLE();
  __HAL_RCC_GPIOH_CLK_ENABLE();
  __HAL_RCC_GPIOA_CLK_ENABLE();
  __HAL_RCC_GPIOB_CLK_ENABLE();

  /*Configure GPIO pin Output Level */
  HAL_GPIO_WritePin(VL_NCS_GPIO_Port, VL_NCS_Pin, GPIO_PIN_SET);

  /*Configure GPIO pin Output Level */
  HAL_GPIO_WritePin(GPIOB, VL_XSHUT_Pin|VL_SYNC_Pin, GPIO_PIN_RESET);

  /*Configure GPIO pin : VL_NCS_Pin */
  GPIO_InitStruct.Pin = VL_NCS_Pin;
  GPIO_InitStruct.Mode = GPIO_MODE_OUTPUT_PP;
  GPIO_InitStruct.Pull = GPIO_PULLUP;
  GPIO_InitStruct.Speed = GPIO_SPEED_FREQ_LOW;
  HAL_GPIO_Init(VL_NCS_GPIO_Port, &GPIO_InitStruct);

  /*Configure GPIO pin : VL_INT_Pin */
  GPIO_InitStruct.Pin = VL_INT_Pin;
  GPIO_InitStruct.Mode = GPIO_MODE_INPUT;
  GPIO_InitStruct.Pull = GPIO_PULLUP;
  HAL_GPIO_Init(VL_INT_GPIO_Port, &GPIO_InitStruct);

  /*Configure GPIO pins : VL_XSHUT_Pin VL_SYNC_Pin */
  GPIO_InitStruct.Pin = VL_XSHUT_Pin|VL_SYNC_Pin;
  GPIO_InitStruct.Mode = GPIO_MODE_OUTPUT_PP;
  GPIO_InitStruct.Pull = GPIO_NOPULL;
  GPIO_InitStruct.Speed = GPIO_SPEED_FREQ_LOW;
  HAL_GPIO_Init(GPIOB, &GPIO_InitStruct);

}

 /* MPU Configuration */

void MPU_Config(void)
{
  MPU_Region_InitTypeDef MPU_InitStruct = {0};
  MPU_Attributes_InitTypeDef MPU_AttributesInit = {0};

  /* Disables the MPU */
  HAL_MPU_Disable();

  /** Initializes and configures the Region 0 and the memory to be protected
  */
  MPU_InitStruct.Enable = MPU_REGION_ENABLE;
  MPU_InitStruct.Number = MPU_REGION_NUMBER0;
  MPU_InitStruct.BaseAddress = 0x08FFF000;
  MPU_InitStruct.LimitAddress = 0x08FFFFFF;
  MPU_InitStruct.AttributesIndex = MPU_ATTRIBUTES_NUMBER0;
  MPU_InitStruct.AccessPermission = MPU_REGION_ALL_RO;
  MPU_InitStruct.DisableExec = MPU_INSTRUCTION_ACCESS_DISABLE;
  MPU_InitStruct.IsShareable = MPU_ACCESS_NOT_SHAREABLE;

  HAL_MPU_ConfigRegion(&MPU_InitStruct);

  /** Initializes and configures the Attribute 0 and the memory to be protected
  */
  MPU_AttributesInit.Number = MPU_ATTRIBUTES_NUMBER0;
  MPU_AttributesInit.Attributes = INNER_OUTER(MPU_NOT_CACHEABLE);

  HAL_MPU_ConfigMemoryAttributes(&MPU_AttributesInit);
  /* Enables the MPU */
  HAL_MPU_Enable(MPU_PRIVILEGED_DEFAULT);

}

void Error_Handler(void)
{
  __disable_irq();
  while (1)
  {
  }
}
